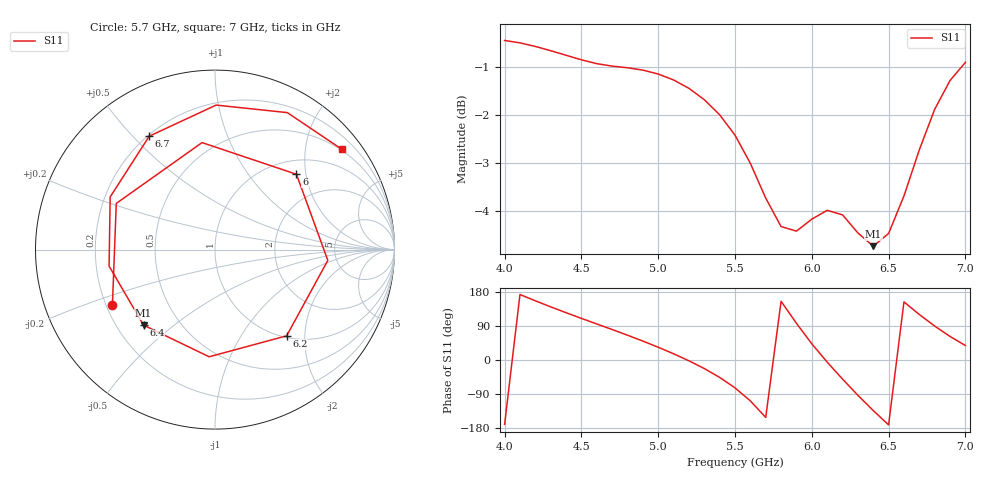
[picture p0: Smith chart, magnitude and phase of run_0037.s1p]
! Touchstone file exported from HFSS 2024.2.0
!  File:  C:/Users/wsak9/Desktop/Sim Fast/Widenad Patch/WP_AI_V1_sweep.aedt
!  Generated:  04:19:34 PM Oct 13, 2026
!  Design:  A1_model
!  Project:  WP_AI_V1_sweep
!  Setup:  Setup1
!  Solution:  Sweep
! Variables:
!  Air_gap = 4.87mm
!  Curve_Amp1 = 2.05
!  Curve_len1 = 1
!  Curve_pos = 10.11mm
!  Extra = 1.54mm
!  H_sub = 0.79mm
!  L_Patch = 16.22mm
!  L_Patch1 = 18.47mm
!  Sx = 0.72mm
!  Sy = 3.23mm
!  WS = 1.21mm
!  W_Patch = 16.31mm
!  W_Patch1 = 16.93mm
!Data is not renormalized
# GHz S MA
! Terminal data exported
! Port[1] = 1
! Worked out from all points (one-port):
!   31 points, 4 GHz to 7 GHz, reference per port
!   lowest |S11| = -4.7 dB at 6.4 GHz (marker M1), VSWR 3.75
!   |S11| at or under -10 dB: nowhere
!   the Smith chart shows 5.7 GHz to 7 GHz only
!   S11 on the Smith chart (normalised r, x): 5.7 GHz: 0.22, -0.24; 6 GHz: 1.30, +1.77; 6.2 GHz: 1.03, -1.62; 6.4 GHz: 0.31, -0.40; 6.7 GHz: 0.21, +0.56; 7 GHz: 0.47, +2.81
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4  0.9505 -169.8
4.1  0.945 172.9
4.2  0.9368 156.2
4.4  0.9172 124.8
4.6  0.8988 95.1
4.8  0.89 65.5
4.9  0.885 49.9
5  0.8767 33.7
5.1  0.8642 16.4
5.2  0.847 -2.1
5.3  0.8241 -22.6
5.4  0.7948 -45.9
5.5  0.7567 -73.6
5.6  0.707 -107.9
5.7  0.6503 -151.5
5.8  0.6072 154.9
5.9  0.6006 96.9
6  0.6181 42.7
6.1  0.6314 -5.5
6.2  0.6246 -50.3
6.3  0.598 -93.1
6.4  0.5792 -133.4
6.5  0.5972 -171.1
6.6  0.6536 153.3
6.7  0.7304 120.1
6.8  0.8052 89.6
6.9  0.863 62.2
7  0.9016 38.2
